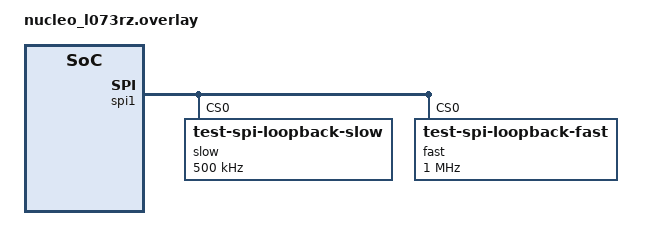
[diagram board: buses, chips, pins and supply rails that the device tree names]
/*
 * Copyright (c) 2022 STMicroelectronics
 *
 * SPDX-License-Identifier: Apache-2.0
 */

&spi1 {
	dmas = <&dma1 3 1 0x440
		&dma1 2 1 0x480>;
	dma-names = "tx", "rx";
};

&spi1 {
	status = "okay";
	slow@0 {
		compatible = "test-spi-loopback-slow";
		reg = <0>;
		spi-max-frequency = <500000>;
	};
	fast@0 {
		compatible = "test-spi-loopback-fast";
		reg = <0>;
		spi-max-frequency = <1000000>;
	};
};

&dma1 {
	status = "okay";
};
